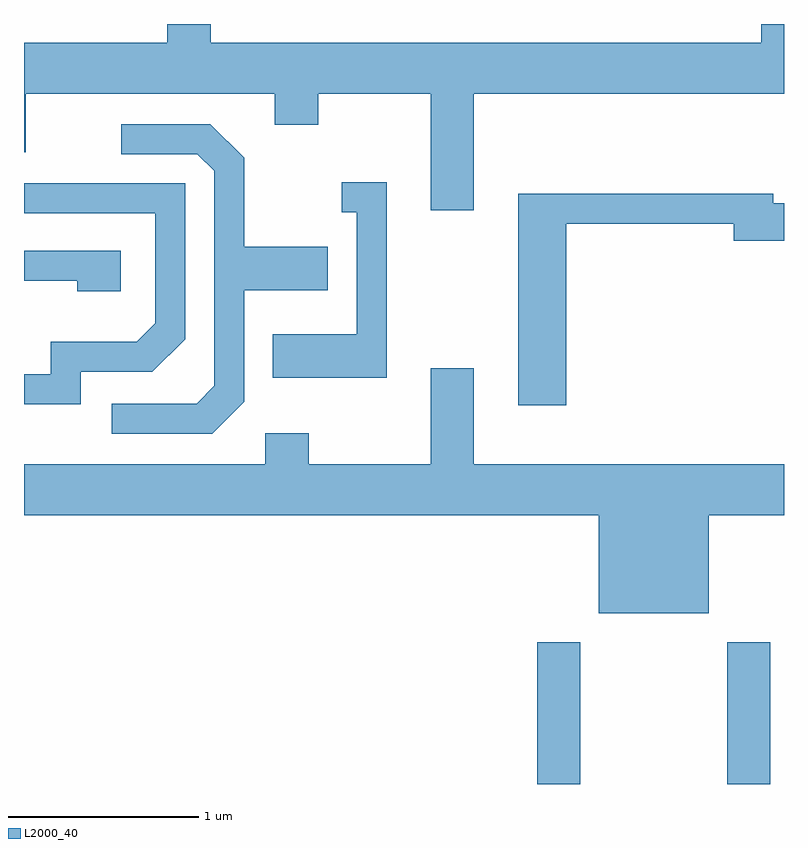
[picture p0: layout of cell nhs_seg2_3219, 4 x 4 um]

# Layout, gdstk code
import gdstk
lib = gdstk.Library(unit=1e-6, precision=1e-09)
def R(c, l, rs):  # rectangles x0, y0, x1, y1
    for r in rs: c.add(gdstk.rectangle(r[:2], r[2:], *l))
def P(c, l, *ps):  # polygons
    for p in ps: c.add(gdstk.Polygon(p, *l))
L2000_40 = (2000, 40)

nhs_seg2_3219 = lib.new_cell('nhs_seg2_3219')
R(nhs_seg2_3219, L2000_40, [(282.311,1035.802,282.539,1036.549), (283.311,1035.802,283.539,1036.549)])
P(nhs_seg2_3219, L2000_40, [(281.979,1039.436),(283.611,1039.436),(283.611,1039.802),(283.491,1039.802),(283.491,1039.704),(280.594,1039.704),(280.594,1039.802),(280.366,1039.802),(280.366,1039.704),(279.611,1039.704),(279.611,1039.126),(279.619,1039.126),(279.619,1039.436),(280.931,1039.436),(280.931,1039.271),(281.159,1039.271),(281.159,1039.436),(281.751,1039.436),(281.751,1038.821),(281.979,1038.821)],
  [(280.769,1037.814),(280.769,1038.401),(281.209,1038.401),(281.209,1038.629),(280.769,1038.629),(280.769,1039.097),(280.592,1039.274),(280.123,1039.274),(280.123,1039.116),(280.524,1039.116),(280.611,1039.029),(280.611,1037.897),(280.519,1037.804),(280.073,1037.804),(280.073,1037.646),(280.602,1037.646)],
  [(281.519,1038.969),(281.283,1038.969),(281.283,1038.811),(281.361,1038.811),(281.361,1038.169),(280.921,1038.169),(280.921,1037.941),(281.519,1037.941)],
  [(279.909,1037.971),(280.287,1037.971),(280.459,1038.144),(280.459,1038.964),(279.611,1038.964),(279.611,1038.806),(280.301,1038.806),(280.301,1038.227),(280.204,1038.129),(279.751,1038.129),(279.751,1037.959),(279.611,1037.959),(279.611,1037.801),(279.909,1037.801)],
  [(282.464,1038.751),(283.346,1038.751),(283.346,1038.661),(283.611,1038.661),(283.611,1038.859),(283.554,1038.859),(283.554,1038.909),(282.211,1038.909),(282.211,1037.796),(282.464,1037.796)],
  [(280.119,1038.609),(279.611,1038.609),(279.611,1038.451),(279.891,1038.451),(279.891,1038.396),(280.119,1038.396)],
  [(283.214,1037.216),(283.611,1037.216),(283.611,1037.484),(281.979,1037.484),(281.979,1037.989),(281.751,1037.989),(281.751,1037.484),(281.109,1037.484),(281.109,1037.649),(280.881,1037.649),(280.881,1037.484),(279.611,1037.484),(279.611,1037.216),(282.636,1037.216),(282.636,1036.701),(283.214,1036.701)])

lib.write_gds('nhs_seg2_3219.gds')
